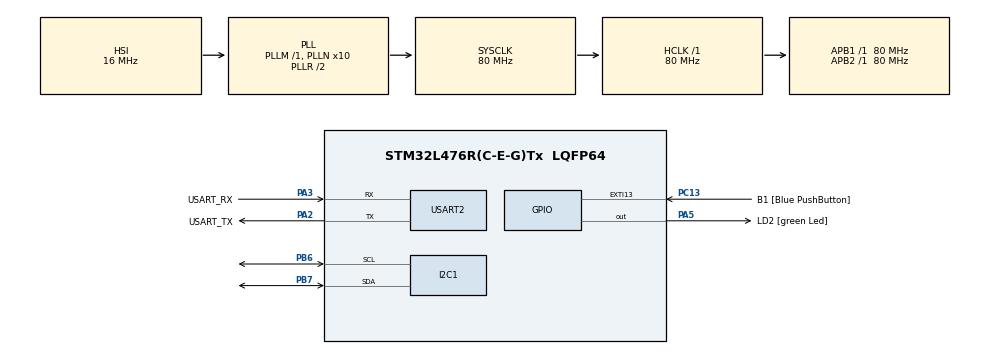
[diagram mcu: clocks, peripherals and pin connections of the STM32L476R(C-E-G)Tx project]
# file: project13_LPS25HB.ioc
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I2C1.Timing=0x10909CEC
Mcu.Family=STM32L4
Mcu.Name=STM32L476R(C-E-G)Tx
Mcu.Package=LQFP64
NVIC.PriorityGroup=NVIC_PRIORITYGROUP_4
PA13\ (JTMS-SWDIO).GPIO_Label=TMS
PA13\ (JTMS-SWDIO).Mode=Serial_Wire
PA13\ (JTMS-SWDIO).Signal=SYS_JTMS-SWDIO
PA14\ (JTCK-SWCLK).GPIO_Label=TCK
PA14\ (JTCK-SWCLK).Mode=Serial_Wire
PA14\ (JTCK-SWCLK).Signal=SYS_JTCK-SWCLK
PA2.GPIO_Label=USART_TX
PA2.GPIO_Mode=GPIO_MODE_AF_PP
PA2.GPIO_PuPd=GPIO_NOPULL
PA2.GPIO_Speed=GPIO_SPEED_FREQ_VERY_HIGH
PA2.Mode=Asynchronous
PA2.Signal=USART2_TX
PA3.GPIO_Label=USART_RX
PA3.GPIO_Mode=GPIO_MODE_AF_PP
PA3.GPIO_PuPd=GPIO_NOPULL
PA3.GPIO_Speed=GPIO_SPEED_FREQ_VERY_HIGH
PA3.Mode=Asynchronous
PA3.Signal=USART2_RX
PA5.GPIO_Label=LD2 [green Led]
PA5.GPIO_ModeDefaultOutputPP=GPIO_MODE_OUTPUT_PP
PA5.GPIO_PuPd=GPIO_NOPULL
PA5.GPIO_Speed=GPIO_SPEED_FREQ_LOW
PA5.Signal=GPIO_Output
PB3\ (JTDO-TRACESWO).GPIO_Label=SWO
PB3\ (JTDO-TRACESWO).Signal=SYS_JTDO-SWO
PB6.Mode=I2C
PB6.Signal=I2C1_SCL
PB7.Mode=I2C
PB7.Signal=I2C1_SDA
PC13.GPIO_Label=B1 [Blue PushButton]
PC13.GPIO_ModeDefaultEXTI=GPIO_MODE_IT_FALLING
PC13.GPIO_PuPd=GPIO_NOPULL
PC13.Signal=GPXTI13
PC14-OSC32_IN\ (PC14).Mode=LSE-External-Oscillator
PC14-OSC32_IN\ (PC14).Signal=RCC_OSC32_IN
PC15-OSC32_OUT\ (PC15).Mode=LSE-External-Oscillator
PC15-OSC32_OUT\ (PC15).Signal=RCC_OSC32_OUT
PH0-OSC_IN\ (PH0).Signal=RCC_OSC_IN
PH1-OSC_OUT\ (PH1).Signal=RCC_OSC_OUT
ProjectManager.HeapSize=0x200
ProjectManager.StackSize=0x400
ProjectManager.TargetToolchain=STM32CubeIDE
RCC.ADCFreq_Value=64000000
RCC.AHBFreq_Value=80000000
RCC.APB1Freq_Value=80000000
RCC.APB1TimFreq_Value=80000000
RCC.APB2Freq_Value=80000000
RCC.APB2TimFreq_Value=80000000
RCC.CortexFreq_Value=80000000
RCC.HCLKFreq_Value=80000000
RCC.HSE_VALUE=8000000
RCC.HSI_VALUE=16000000
RCC.MSI_VALUE=4000000
RCC.PLLN=10
RCC.PLLSourceVirtual=RCC_PLLSOURCE_HSI
RCC.PREFETCH_ENABLE=1
RCC.SYSCLKFreq_VALUE=80000000
RCC.SYSCLKSource=RCC_SYSCLKSOURCE_PLLCLK
RCC.USBFreq_Value=64000000
RCC.VCOOutputFreq_Value=160000000
USART2.VirtualMode-Asynchronous=VM_ASYNC
board=NUCLEO-L476RG

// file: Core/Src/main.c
/* USER CODE BEGIN Header */
/**
  ******************************************************************************
  * @file           : main.c
  * @brief          : Main program body
  ******************************************************************************
  * @attention
  *
  * Copyright (c) 2024 STMicroelectronics.
  * All rights reserved.
  *
  * This software is licensed under terms that can be found in the LICENSE file
  * in the root directory of this software component.
  * If no LICENSE file comes with this software, it is provided AS-IS.
  *
  ******************************************************************************
  */
/* USER CODE END Header */
#include "main.h"
#include "i2c.h"
#include "usart.h"
#include "gpio.h"

/* USER CODE BEGIN Includes */
#include <stdio.h>
#include "lps25hb.h"
/* USER CODE END Includes */

void SystemClock_Config(void);

/* USER CODE BEGIN 0 */
int __io_putchar(int ch)
{
  if (ch == '\n') {
    __io_putchar('\r');
  }

  HAL_UART_Transmit(&huart2, (uint8_t*)&ch, 1, HAL_MAX_DELAY);

  return 1;
}

/* USER CODE END 0 */

int main(void)
{

  /* MCU Configuration--------------------------------------------------------*/

  /* Reset of all peripherals, Initializes the Flash interface and the Systick. */
  HAL_Init();

  /* Configure the system clock */
  SystemClock_Config();

  /* Initialize all configured peripherals */
  MX_GPIO_Init();
  MX_USART2_UART_Init();
  MX_I2C1_Init();

  /* Infinite loop */
  /* USER CODE BEGIN WHILE */
  printf("Searching...\n");
  if (lps25hb_init() == HAL_OK) {
    printf("OK: LPS25HB\n");
  } else {
    printf("Error: LPS25HB not found\n");
    Error_Handler();
  }
  HAL_Delay(100);

  while (1)
  {

    printf("T = %.1f*C\n", lps25hb_read_temp());
    printf("p = %.1f hPa\n", lps25hb_read_pressure());

    float p0 = 1013.25;
    float T = lps25hb_read_temp() + 273.15;
    float p = lps25hb_read_pressure();
    float h = -29.271769 * T * log(p / p0);

    printf("h = %.2f m\n", h);
    printf("-----------------------\n");
    HAL_Delay(2500);

    /* USER CODE END WHILE */

  }
}

void SystemClock_Config(void)
{
  RCC_OscInitTypeDef RCC_OscInitStruct = {0};
  RCC_ClkInitTypeDef RCC_ClkInitStruct = {0};

  /** Configure the main internal regulator output voltage
  */
  if (HAL_PWREx_ControlVoltageScaling(PWR_REGULATOR_VOLTAGE_SCALE1) != HAL_OK)
  {
    Error_Handler();
  }

  /** Initializes the RCC Oscillators according to the specified parameters
  * in the RCC_OscInitTypeDef structure.
  */
  RCC_OscInitStruct.OscillatorType = RCC_OSCILLATORTYPE_HSI;
  RCC_OscInitStruct.HSIState = RCC_HSI_ON;
  RCC_OscInitStruct.HSICalibrationValue = RCC_HSICALIBRATION_DEFAULT;
  RCC_OscInitStruct.PLL.PLLState = RCC_PLL_ON;
  RCC_OscInitStruct.PLL.PLLSource = RCC_PLLSOURCE_HSI;
  RCC_OscInitStruct.PLL.PLLM = 1;
  RCC_OscInitStruct.PLL.PLLN = 10;
  RCC_OscInitStruct.PLL.PLLP = RCC_PLLP_DIV7;
  RCC_OscInitStruct.PLL.PLLQ = RCC_PLLQ_DIV2;
  RCC_OscInitStruct.PLL.PLLR = RCC_PLLR_DIV2;
  if (HAL_RCC_OscConfig(&RCC_OscInitStruct) != HAL_OK)
  {
    Error_Handler();
  }

  /** Initializes the CPU, AHB and APB buses clocks
  */
  RCC_ClkInitStruct.ClockType = RCC_CLOCKTYPE_HCLK|RCC_CLOCKTYPE_SYSCLK
                              |RCC_CLOCKTYPE_PCLK1|RCC_CLOCKTYPE_PCLK2;
  RCC_ClkInitStruct.SYSCLKSource = RCC_SYSCLKSOURCE_PLLCLK;
  RCC_ClkInitStruct.AHBCLKDivider = RCC_SYSCLK_DIV1;
  RCC_ClkInitStruct.APB1CLKDivider = RCC_HCLK_DIV1;
  RCC_ClkInitStruct.APB2CLKDivider = RCC_HCLK_DIV1;

  if (HAL_RCC_ClockConfig(&RCC_ClkInitStruct, FLASH_LATENCY_4) != HAL_OK)
  {
    Error_Handler();
  }
}

void Error_Handler(void)
{
  __disable_irq();
  while (1)
  {
  }
}
